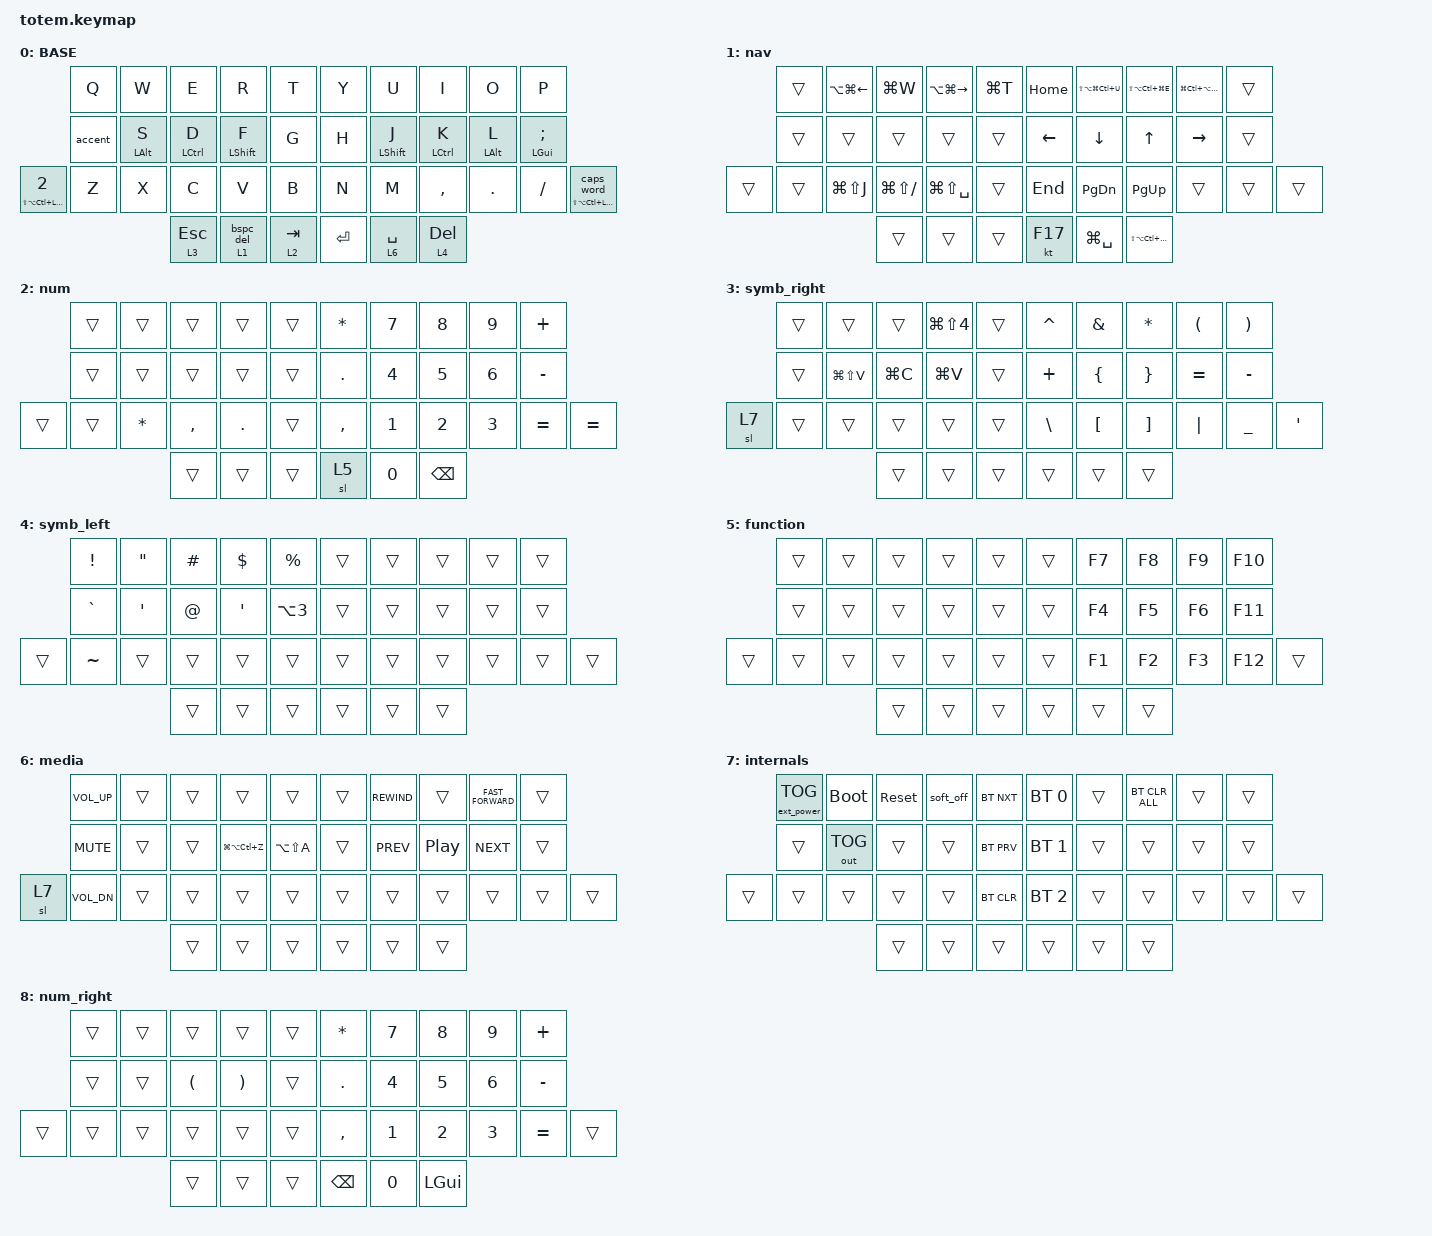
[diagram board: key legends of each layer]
//
//                                                        ▀▀▀▀▀     ▀▀▀▀▀          ▀▀█▀▀
//                                                        ▄▀▀▀▄  ▄  ▄▀▀▀▄  ▄  ▄▀▀▀▄  █  ▄▀▀▀▄
//                                                        █   █  █  █   █  █  █   █  █  █   █
//                                                         ▀▀▀   █   ▀▀▀   █   ▀▀▀   ▀   ▀▀▀
//                                                               █      ▄▄▄█▄▄▄    █   █  
//                                                               ▀      █  █  █     █▄█
//                                                             ▀▀▀▀▀    █  █  █      ▀
//                                                                      ▀  ▀  ▀
//
// ▄▄▄▄▄▄▄▄▄▄▄▄▄▄▄▄▄▄▄▄▄▄▄▄▄▄▄▄▄▄▄▄▄▄▄▄▄▄▄▄▄▄▄▄▄▄▄▄▄▄▄▄▄▄▄▄▄▄▄▄▄▄▄▄▄▄▄▄▄▄▄▄▄▄▄▄▄▄▄▄▄▄▄▄▄▄▄▄▄▄▄▄▄▄▄▄▄▄▄▄▄▄▄▄▄▄▄▄▄▄▄▄▄▄▄▄▄▄▄▄▄▄▄▄▄▄▄▄▄▄▄▄▄▄▄▄▄▄▄▄▄▄▄▄▄▄▄▄▄

#define MEH LC(LS(LALT))

// Custom

#include "keys/38.h"
#include <behaviors/num_word.dtsi>
#include <behaviors.dtsi>
#include <dt-bindings/zmk/bt.h>
#include <dt-bindings/zmk/ext_power.h>
#include <dt-bindings/zmk/keys.h>
#include <dt-bindings/zmk/outputs.h>

// #include "includes/mods.dtsi"

#define BASE 0
#define NAV  1
#define SYM  2
#define ADJ  3
#define HM_TAPPING_TERM 300
#define HM_TAPPING_TERM_FAST 200
#define HM_PRIOR_IDLE 150

// &mt {
//     quick-tap-ms = <100>;
//     require-prior-idle-ms = <150>;
//     flavor = "tap-preferred";
//     tapping-term-ms = <170>;
// };

&lt {
    tapping-term-ms = <240>;
    flavor = "balanced";
    require-prior-idle-ms = <150>;
    quick-tap-ms = <175>;
};

&sl { release-after-ms = <3000>; };

/ {
    behaviors {
        // Positional Homerow mods
        // Homerow mods that prevent accidental activations when rolling keys,
        // such as when typing `st` or `ne` on colemak-dh layouts or `as` on
        // qwerty.
        //
        // Works by only allowing a mod to activate within tapping-term if
        // it's on the opposite side of the keyboard or on the same side thumb
        // keys.
        // Further optimization using urob's timerless homerow mods method:
        // https://github.com/urob/zmk-config#timeless-homerow-mods

        hm_l: homerow_mods_left {
            compatible = "zmk,behavior-hold-tap";
            #binding-cells = <2>;
            bindings = <&kp>, <&kp>;

            flavor = "balanced";
            tapping-term-ms = <HM_TAPPING_TERM>;
            quick-tap-ms = <175>;                // repeat on tap-into-hold
            require-prior-idle-ms = <HM_PRIOR_IDLE>;
            hold-trigger-key-positions = <KEYS_R KEYS_T>;
            hold-trigger-on-release;
        };

        hm_r: homerow_mods_right {
            compatible = "zmk,behavior-hold-tap";
            #binding-cells = <2>;
            bindings = <&kp>, <&kp>;

            flavor = "balanced";
            tapping-term-ms = <HM_TAPPING_TERM>;
            quick-tap-ms = <175>;
            require-prior-idle-ms = <HM_PRIOR_IDLE>;
            hold-trigger-key-positions = <KEYS_L KEYS_T>;
            hold-trigger-on-release;
        };

        // Positional Homerow mods for shift
        // Use faster tapping term and disable some features that may
        // cause false negatives.

        hm_shift_l: hm_shift_l {
            compatible = "zmk,behavior-hold-tap";
            #binding-cells = <2>;
            bindings = <&kp>, <&kp>;

            flavor = "balanced";
            tapping-term-ms = <HM_TAPPING_TERM_FAST>;
            quick-tap-ms = <175>;

            // replaced global-quick-tap

            require-prior-idle-ms = <HM_PRIOR_IDLE>;
            hold-trigger-key-positions = <KEYS_R KEYS_T>;

            // hold-trigger-on-release;
        };

        hm_shift_r: hm_shift_r {
            compatible = "zmk,behavior-hold-tap";
            #binding-cells = <2>;
            bindings = <&kp>, <&kp>;

            flavor = "balanced";
            tapping-term-ms = <HM_TAPPING_TERM_FAST>;
            quick-tap-ms = <175>;

            // replaced global-quick-tap

            require-prior-idle-ms = <HM_PRIOR_IDLE>;
            hold-trigger-key-positions = <KEYS_L KEYS_T>;

            // hold-trigger-on-release;
        };

        // mods for thumb keys

        tm: tm {
            compatible = "zmk,behavior-hold-tap";
            label = "THUMB_MOD";
            flavor = "balanced";

            // how long a key must be pressed to trigger Hold behavior.

            tapping-term-ms = <250>;

            // press a tapped hold-tap again within quick-tap-ms milliseconds 
            // of the first press, it will always trigger the tap behavior.

            quick-tap-ms = <300>;

            // the tap behavior is triggered when releasing the hold-tap key 
            // if no other key was pressed in the meantime
            //retro-tap; // don't allow slow (hold-like) taps

            #binding-cells = <2>;
            bindings = <&mo>, <&kp>;
        };

        // trigger a mod morph for the accent when pressing escape

        tm_delete: tm_delete {
            compatible = "zmk,behavior-hold-tap";
            flavor = "tap-preferred";

            // how long a key must be pressed to trigger Hold behavior.

            tapping-term-ms = <250>;

            // press a tapped hold-tap again within quick-tap-ms milliseconds 
            // of the first press, it will always trigger the tap behavior.

            quick-tap-ms = <300>;

            // the tap behavior is triggered when releasing the hold-tap key 
            // if no other key was pressed in the meantime
            //retro-tap; // don't allow slow (hold-like) taps

            #binding-cells = <2>;
            bindings = <&mo>, <&bspc_del>;
        };

        hyper_num: hyper_num {
            compatible = "zmk,behavior-hold-tap";
            flavor = "balanced";

            // how long a key must be pressed to trigger Hold behavior.

            tapping-term-ms = <250>;

            // press a tapped hold-tap again within quick-tap-ms milliseconds 
            // of the first press, it will always trigger the tap behavior.

            quick-tap-ms = <300>;

            // the tap behavior is triggered when releasing the hold-tap key 
            // if no other key was pressed in the meantime
            //retro-tap; // don't allow slow (hold-like) taps

            #binding-cells = <2>;
            bindings = <&kp>, <&num_word>;
        };

        hyper_caps: hyper_caps {
            compatible = "zmk,behavior-hold-tap";
            flavor = "balanced";

            // how long a key must be pressed to trigger Hold behavior.

            tapping-term-ms = <250>;

            // press a tapped hold-tap again within quick-tap-ms milliseconds 
            // of the first press, it will always trigger the tap behavior.

            quick-tap-ms = <300>;

            // the tap behavior is triggered when releasing the hold-tap key 
            // if no other key was pressed in the meantime
            //retro-tap; // don't allow slow (hold-like) taps

            #binding-cells = <2>;
            bindings = <&kp>, <&caps_word>;
        };

        // trigger delete on backspace when shift is held

        bspc_del: bspc_del {
            compatible = "zmk,behavior-mod-morph";
            #binding-cells = <0>;
            bindings = <&kp BACKSPACE>, <&kp DELETE>;

            mods = <(MOD_LSFT|MOD_RSFT)>;
            keep-mods = <(MOD_RSFT)>;
        };

        // trigger delete on backspace when shift is held

        accent: accent {
            compatible = "zmk,behavior-mod-morph";
            #binding-cells = <0>;
            bindings = <&hm_l LGUI A>, <&kp LA(GRAVE)>;

            mods = <(MOD_LALT)>;
        };
    };
};

/ {
    combos {
        compatible = "zmk,combos";

        left_bracket {
            bindings = <&kp LEFT_BRACKET>;
            key-positions = <2 3>;
            require-prior-idle-ms = <200>;
            timeout-ms = <40>;
        };

        right_bracket {
            bindings = <&kp RIGHT_BRACKET>;
            key-positions = <7 6>;
            require-prior-idle-ms = <200>;
            timeout-ms = <40>;
        };

        left_brace {
            bindings = <&kp LEFT_BRACE>;
            key-positions = <1 3>;
            require-prior-idle-ms = <200>;
            timeout-ms = <60>;
        };

        right_brace {
            bindings = <&kp RIGHT_BRACE>;
            key-positions = <8 6>;
            require-prior-idle-ms = <200>;
            timeout-ms = <60>;
        };

        underscore {
            bindings = <&kp UNDERSCORE>;
            key-positions = <21 30>;
            require-prior-idle-ms = <150>;
            timeout-ms = <70>;
        };

        single_quotes {
            bindings = <&kp SINGLE_QUOTE>;
            key-positions = <12 17>;
            require-prior-idle-ms = <150>;
            timeout-ms = <70>;
        };

        quotes {
            bindings = <&kp DOUBLE_QUOTES>;
            key-positions = <11 18>;
            require-prior-idle-ms = <150>;
            timeout-ms = <70>;
        };

        left_parent {
            bindings = <&kp LEFT_PARENTHESIS>;
            key-positions = <2 1>;
            require-prior-idle-ms = <200>;
            timeout-ms = <40>;
        };

        right_parent {
            bindings = <&kp RIGHT_PARENTHESIS>;
            key-positions = <7 8>;
            require-prior-idle-ms = <200>;
            timeout-ms = <40>;
        };

        backtick {
            bindings = <&kp GRAVE>;
            key-positions = <13 16>;
            require-prior-idle-ms = <150>;
            timeout-ms = <70>;
        };

        leader_software {
            bindings = <&select_line>;
            key-positions = <32 37>;
            require-prior-idle-ms = <150>;
            timeout-ms = <70>;
        };

        number {
            bindings = <&hyper_num LS(LA(LC(LEFT_GUI))) 2>;
            key-positions = <33 36>;
            require-prior-idle-ms = <150>;
            timeout-ms = <70>;
        };

        dash2 {
            bindings = <&kp MINUS>;
            key-positions = <10 19>;
            require-prior-idle-ms = <150>;
            timeout-ms = <60>;
        };

        copy {
            bindings = <&kp LG(C)>;
            key-positions = <22 23>;
            require-prior-idle-ms = <150>;
            timeout-ms = <70>;
        };

        paste {
            bindings = <&kp LG(V)>;
            key-positions = <23 24>;
            require-prior-idle-ms = <150>;
            timeout-ms = <70>;
        };

        clipboard {
            bindings = <&kp LG(LS(V))>;
            key-positions = <22 23 24>;
            require-prior-idle-ms = <150>;
            timeout-ms = <70>;
        };

        equal {
            bindings = <&kp EQUAL>;
            key-positions = <20 31>;
            require-prior-idle-ms = <150>;
            timeout-ms = <70>;
        };

        plus {
            bindings = <&kp PLUS>;
            key-positions = <0 9>;
            require-prior-idle-ms = <150>;
            timeout-ms = <70>;
        };

        exclamation {
            bindings = <&kp EXCLAMATION>;
            key-positions = <24 27>;
            require-prior-idle-ms = <150>;
            timeout-ms = <70>;
        };

        at_sign {
            bindings = <&kp AT_SIGN>;
            key-positions = <23 28>;
            require-prior-idle-ms = <150>;
            timeout-ms = <70>;
        };

        tilde {
            bindings = <&kp TILDE>;
            key-positions = <22 29>;
            require-prior-idle-ms = <150>;
            timeout-ms = <70>;
        };

        xor {
            bindings = <&kp CARET>;
            key-positions = <4 5>;
            require-prior-idle-ms = <150>;
            timeout-ms = <70>;
        };

        pipe {
            bindings = <&kp PIPE>;
            key-positions = <25 26>;
            require-prior-idle-ms = <150>;
            timeout-ms = <70>;
        };

        and {
            bindings = <&kp AMPERSAND>;
            key-positions = <14 15>;
            require-prior-idle-ms = <150>;
            timeout-ms = <70>;
        };
    };

    macros {
        select_line: new_macro {
            compatible = "zmk,behavior-macro";
            #binding-cells = <0>;
            bindings = <&kp HOME &kp LS(END)>;
            label = "NEW_MACRO";
        };
    };

    keymap {
        compatible = "zmk,keymap";

        base_layer {
            label = "BASE";
            bindings = <
                                   &kp Q    &kp W         &kp E          &kp R                 &kp T        &kp Y      &kp U                 &kp I          &kp O         &kp P
                                   &accent  &hm_l LALT S  &hm_l LCTRL D  &hm_shift_l LSHIFT F  &kp G        &kp H      &hm_shift_r LSHIFT J  &hm_r LCTRL K  &hm_r LALT L  &hm_r LGUI SEMI
&hyper_num LS(LA(LC(LEFT_GUI))) 2  &kp Z    &kp X         &kp C          &kp V                 &kp B        &kp N      &kp M                 &kp COMMA      &kp PERIOD    &kp FSLH         &hyper_caps LS(LA(LC(LEFT_GUI))) 0
                                                          &tm 3 ESCAPE   &tm_delete 1 0        &tm 2 TAB    &kp ENTER  &tm 6 SPACE           &tm 4 DELETE
            >;
        };

        nav {
            bindings = <
        &trans  &kp LA(LG(LEFT_ARROW))  &kp LG(W)          &kp LA(LG(RIGHT))  &kp LG(T)    &kp HOME        &kp LS(LA(LG(LC(U))))  &kp LS(LA(LC(LG(E))))      &kp LG(LC(LA(LS(O))))  &trans
        &trans  &trans                  &trans             &trans             &trans       &kp LEFT_ARROW  &kp DOWN               &kp UP_ARROW               &kp RIGHT              &trans
&trans  &trans  &kp LG(LS(J))           &kp LG(LS(SLASH))  &kp LG(LS(SPACE))  &trans       &kp END         &kp PAGE_DOWN          &kp PAGE_UP                &trans                 &trans  &trans
                                        &trans             &trans             &trans       &kt F17         &kp LG(SPACE)          &kp LS(LA(LC(LG(ENTER))))
            >;
        };

        num {
            bindings = <
        &trans  &trans        &trans     &trans      &trans    &kp ASTERISK  &kp N7        &kp N8         &kp N9        &kp PLUS
        &trans  &trans        &trans     &trans      &trans    &kp PERIOD    &kp NUMBER_4  &kp N5         &kp NUMBER_6  &kp MINUS
&trans  &trans  &kp ASTERISK  &kp COMMA  &kp PERIOD  &trans    &kp COMMA     &kp NUMBER_1  &kp NUMBER_2   &kp NUMBER_3  &kp EQUAL  &kp EQUAL
                              &trans     &trans      &trans    &sl 5         &kp N0        &kp BACKSPACE
            >;
        };

        symb_right {
            bindings = <
       &trans  &trans         &trans     &kp LG(LS(NUMBER_4))  &trans    &kp CARET      &kp AMPERSAND     &kp ASTERISK       &kp LEFT_PARENTHESIS  &kp RIGHT_PARENTHESIS
       &trans  &kp LG(LS(V))  &kp LG(C)  &kp LG(V)             &trans    &kp PLUS       &kp LEFT_BRACE    &kp RIGHT_BRACE    &kp EQUAL             &kp MINUS
&sl 7  &trans  &trans         &trans     &trans                &trans    &kp BACKSLASH  &kp LEFT_BRACKET  &kp RIGHT_BRACKET  &kp PIPE              &kp UNDERSCORE         &kp SQT
                              &trans     &trans                &trans    &trans         &trans            &trans
            >;
        };

        symb_left {
            bindings = <
        &kp EXCLAMATION  &kp DOUBLE_QUOTES  &kp HASH  &kp DOLLAR  &kp PERCENT         &trans  &trans  &trans  &trans  &trans
        &kp GRAVE        &kp SQT            &kp AT    &kp SQT     &kp LA(NUMBER_3)    &trans  &trans  &trans  &trans  &trans
&trans  &kp TILDE        &trans             &trans    &trans      &trans              &trans  &trans  &trans  &trans  &trans  &trans
                                            &trans    &trans      &trans              &trans  &trans  &trans
            >;
        };

        function {
            bindings = <
        &trans  &trans  &trans  &trans  &trans    &trans  &kp F7  &kp F8  &kp F9  &kp F10
        &trans  &trans  &trans  &trans  &trans    &trans  &kp F4  &kp F5  &kp F6  &kp F11
&trans  &trans  &trans  &trans  &trans  &trans    &trans  &kp F1  &kp F2  &kp F3  &kp F12  &trans
                        &trans  &trans  &trans    &trans  &trans  &trans
            >;
        };

        media {
            bindings = <
       &kp C_VOLUME_UP  &trans  &trans  &trans             &trans           &trans  &kp C_REWIND  &trans            &kp C_FAST_FORWARD  &trans
       &kp K_MUTE       &trans  &trans  &kp LG(LA(LC(Z)))  &kp LA(LS(A))    &trans  &kp C_PREV    &kp C_PLAY_PAUSE  &kp C_NEXT          &trans
&sl 7  &kp C_VOL_DN     &trans  &trans  &trans             &trans           &trans  &trans        &trans            &trans              &trans  &trans
                                &trans  &trans             &trans           &trans  &trans        &trans
            >;
        };

        internals {
            bindings = <
        &ext_power EP_TOG  &bootloader   &sys_reset  &soft_off  &bt BT_NXT    &bt BT_SEL 0  &trans  &bt BT_CLR_ALL  &trans  &trans
        &trans             &out OUT_TOG  &trans      &trans     &bt BT_PRV    &bt BT_SEL 1  &trans  &trans          &trans  &trans
&trans  &trans             &trans        &trans      &trans     &bt BT_CLR    &bt BT_SEL 2  &trans  &trans          &trans  &trans  &trans
                                         &trans      &trans     &trans        &trans        &trans  &trans
            >;
        };

        num_right {
            bindings = <
        &trans  &trans  &trans                &trans                 &trans    &kp ASTERISK   &kp N7        &kp N8        &kp N9        &kp PLUS
        &trans  &trans  &kp LEFT_PARENTHESIS  &kp RIGHT_PARENTHESIS  &trans    &kp PERIOD     &kp NUMBER_4  &kp N5        &kp NUMBER_6  &kp MINUS
&trans  &trans  &trans  &trans                &trans                 &trans    &kp COMMA      &kp NUMBER_1  &kp NUMBER_2  &kp NUMBER_3  &kp EQUAL  &trans
                        &trans                &trans                 &trans    &kp BACKSPACE  &kp N0        &kp LEFT_GUI
            >;
        };
    };
};
